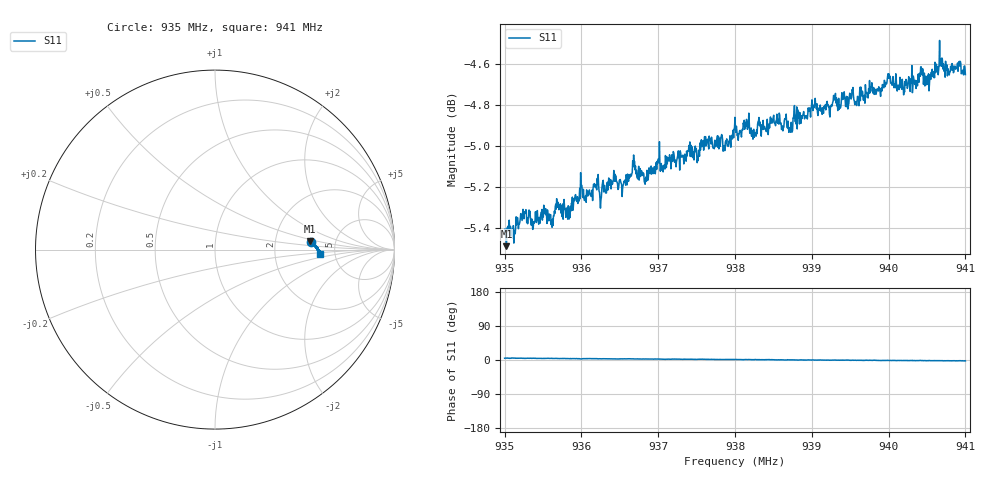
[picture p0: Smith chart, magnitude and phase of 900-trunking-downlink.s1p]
! Calibrated averaged scanner-service zoom
# Hz S RI R 50
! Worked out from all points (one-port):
!   1001 points, 935 MHz to 941 MHz, reference 50 ohm
!   lowest |S11| = -5.5 dB at 935.024 MHz (marker M1), VSWR 3.27, Z = 161 + j20.3 ohm
!   |S11| at or under -10 dB: nowhere
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9.35e8  0.5339 0.0431
9.35024e8  0.5296 0.0452
9.35252e8  0.5383 0.0404
9.35366e8  0.5349 0.0431
9.3575e8  0.539 0.0387
9.35978e8  0.5483 0.0303
9.36098e8  0.5467 0.0343
9.365e8  0.5509 0.0269
9.36632e8  0.5518 0.0303
9.3698e8  0.5544 0.0255
9.37082e8  0.5559 0.0173
9.3725e8  0.5585 0.0208
9.37664e8  0.5653 0.0147
9.37874e8  0.5634 0.013
9.38e8  0.5714 0.0109
9.3836e8  0.5676 0.00654
9.38432e8  0.5659 0.0112
9.38546e8  0.5725 0.00147
9.3875e8  0.5674 0.00218
9.3902e8  0.5754 -0.000341
9.39452e8  0.5783 -0.00356
9.395e8  0.5789 -0.00942
9.39992e8  0.5856 -0.0108
9.4025e8  0.5814 -0.012
9.40418e8  0.5879 -0.0103
9.4052e8  0.5854 -0.0178
9.40688e8  0.5879 -0.0175
9.41e8  0.5849 -0.0233
